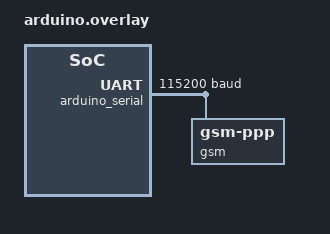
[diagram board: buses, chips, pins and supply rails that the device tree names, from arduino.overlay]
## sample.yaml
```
sample:
  description: UpdateHub enterprise-grade Firmware Over-the-Air (FOTA)
  name: UpdateHub
common:
  harness: net
  tags:
    - net
    - wifi
    - updatehub
  depends_on: netif
  build_only: true
  platform_allow: frdm_k64f
  integration_platforms:
    - frdm_k64f
tests:
  sample.net.updatehub:
    extra_configs:
      - CONFIG_UPDATEHUB_PRODUCT_UID="e4d37cfe6ec48a2d069cc0bbb8b078677e9a0d8df3a027c4d8ea131130c4265f"
      - CONFIG_UPDATEHUB_POLL_INTERVAL=1
      - CONFIG_UPDATEHUB_CE=y
      - CONFIG_UPDATEHUB_SERVER="updatehub.io"
  sample.net.updatehub.userspace:
    extra_configs:
      - CONFIG_UPDATEHUB_PRODUCT_UID="e4d37cfe6ec48a2d069cc0bbb8b078677e9a0d8df3a027c4d8ea131130c4265f"
      - CONFIG_UPDATEHUB_POLL_INTERVAL=1
      - CONFIG_UPDATEHUB_CE=y
      - CONFIG_UPDATEHUB_SERVER="updatehub.io"
      - CONFIG_USERSPACE=y
  sample.net.updatehub.dtls:
    extra_args: OVERLAY_CONFIG="overlay-dtls.conf"
    extra_configs:
      - CONFIG_UPDATEHUB_PRODUCT_UID="e4d37cfe6ec48a2d069cc0bbb8b078677e9a0d8df3a027c4d8ea131130c4265f"
      - CONFIG_UPDATEHUB_POLL_INTERVAL=1
      - CONFIG_UPDATEHUB_CE=y
      - CONFIG_UPDATEHUB_SERVER="updatehub.io"
```

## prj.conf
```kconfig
# Copyright (c) 2018-2020 O.S.Systems
# SPDX -License-Identifier: Apache-2.0
CONFIG_FLASH=y
CONFIG_STREAM_FLASH=y
CONFIG_FLASH_MAP=y
CONFIG_REBOOT=y
CONFIG_MCUBOOT_IMG_MANAGER=y
CONFIG_IMG_MANAGER=y
CONFIG_IMG_ENABLE_IMAGE_CHECK=y
CONFIG_BOOTLOADER_MCUBOOT=y
CONFIG_MPU_ALLOW_FLASH_WRITE=y
CONFIG_NETWORKING=y
CONFIG_NET_UDP=y
CONFIG_NET_SOCKETS=y
CONFIG_NET_SOCKETS_POSIX_NAMES=y
CONFIG_COAP=y
CONFIG_DNS_RESOLVER=y
CONFIG_JSON_LIBRARY=y
CONFIG_HWINFO=y

# Turn on the updatehub
CONFIG_UPDATEHUB=y
CONFIG_COAP_INIT_ACK_TIMEOUT_MS=10000

# Heap mem pool size
CONFIG_HEAP_MEM_POOL_SIZE=8192
CONFIG_SYSTEM_WORKQUEUE_STACK_SIZE=8192

# Network events
CONFIG_NET_CONNECTION_MANAGER=y
CONFIG_NET_CONFIG_SETTINGS=y

CONFIG_NET_IPV6=n

CONFIG_NET_IPV4=y
CONFIG_NET_DHCPV4=y

# Enable Shell
CONFIG_SHELL=y
CONFIG_SHELL_STACK_SIZE=8192
CONFIG_UPDATEHUB_SHELL=y
CONFIG_NET_SHELL=y

# Debug helpers
CONFIG_LOG=y
#CONFIG_UPDATEHUB_LOG_LEVEL_DBG=y
```

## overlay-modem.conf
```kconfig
# Copyright (c) 2020 O.S.Systems
# SPDX-License-Identifier: Apache-2.0

# Disable default configs
CONFIG_NET_L2_ETHERNET=n

CONFIG_NET_DHCPV4=n

CONFIG_NET_CONFIG_SETTINGS=n

# UART support
CONFIG_SERIAL=y

# GSM modem support
CONFIG_MODEM=y
CONFIG_MODEM_SHELL=y
CONFIG_MODEM_GSM_PPP=y
CONFIG_MODEM_GSM_APN="<Your Access Point Network>"

# PPP networking support
CONFIG_NET_DRIVERS=y
CONFIG_NET_NATIVE=y
CONFIG_NET_PPP=y
CONFIG_NET_L2_PPP=y
CONFIG_NET_L2_PPP_TIMEOUT=10000

CONFIG_DNS_SERVER_IP_ADDRESSES=y
CONFIG_DNS_SERVER1="8.8.8.8"
```

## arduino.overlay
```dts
/*
 * Copyright (c) 2020 O.S.Systems
 *
 * SPDX-License-Identifier: Apache-2.0
 */

&arduino_serial {
	status = "okay";
	current-speed = <115200>;
	gsm: gsm-modem {
		compatible = "zephyr,gsm-ppp";
	};
};
```

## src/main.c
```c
/*
 * Copyright (c) 2018-2023 O.S.Systems
 *
 * SPDX-License-Identifier: Apache-2.0
 */

#include <zephyr/kernel.h>
#include <zephyr/mgmt/updatehub.h>
#include <zephyr/net/net_mgmt.h>
#include <zephyr/net/net_event.h>
#include <zephyr/net/conn_mgr_monitor.h>

#ifdef CONFIG_NET_L2_WIFI_MGMT
#include <zephyr/net/wifi_mgmt.h>
#endif /* CONFIG_NET_L2_WIFI_MGMT */

#if defined(CONFIG_UPDATEHUB_DTLS)
#include <zephyr/net/tls_credentials.h>
#include "c_certificates.h"
#endif

#if defined(CONFIG_MODEM_GSM_PPP)
#define GSM_NODE DT_COMPAT_GET_ANY_STATUS_OKAY(zephyr_gsm_ppp)
#define UART_NODE DT_BUS(GSM_NODE)
#endif

#include <zephyr/logging/log.h>
LOG_MODULE_REGISTER(main);

#define EVENT_MASK (NET_EVENT_L4_CONNECTED | \
		    NET_EVENT_L4_DISCONNECTED)

static struct net_mgmt_event_callback mgmt_cb;

void start_updatehub(void)
{
#if defined(CONFIG_UPDATEHUB_SAMPLE_POLLING)
	LOG_INF("Starting UpdateHub polling mode");
	updatehub_autohandler();
#endif

#if defined(CONFIG_UPDATEHUB_SAMPLE_MANUAL)
	LOG_INF("Starting UpdateHub manual mode");

	switch (updatehub_probe()) {
	case UPDATEHUB_HAS_UPDATE:
		switch (updatehub_update()) {
		case UPDATEHUB_OK:
			ret = 0;
			updatehub_reboot();
			break;

		default:
			LOG_ERR("Error installing update.");
			break;
		}

	case UPDATEHUB_NO_UPDATE:
		LOG_INF("No update found");
		ret = 0;
		break;

	default:
		LOG_ERR("Invalid response");
		break;
	}
#endif
}

static void event_handler(struct net_mgmt_event_callback *cb,
			  uint32_t mgmt_event, struct net_if *iface)
{
	if ((mgmt_event & EVENT_MASK) != mgmt_event) {
		return;
	}

	if (mgmt_event == NET_EVENT_L4_CONNECTED) {
		LOG_INF("Network connected");
		start_updatehub();
		return;
	}

	if (mgmt_event == NET_EVENT_L4_DISCONNECTED) {
		LOG_INF("Network disconnected");
		return;
	}
}

int main(void)
{
	int ret;

	LOG_INF("UpdateHub sample app started");

#if defined(CONFIG_UPDATEHUB_DTLS)
	if (tls_credential_add(CA_CERTIFICATE_TAG,
			       TLS_CREDENTIAL_SERVER_CERTIFICATE,
			       server_certificate,
			       sizeof(server_certificate)) < 0) {
		LOG_ERR("Failed to register server certificate");
		return 0;
	}

	if (tls_credential_add(CA_CERTIFICATE_TAG,
			       TLS_CREDENTIAL_PRIVATE_KEY,
			       private_key,
			       sizeof(private_key)) < 0) {
		LOG_ERR("Failed to register private key");
		return 0;
	}
#endif

	/* The image of application needed be confirmed */
	LOG_INF("Confirming the boot image");
	ret = updatehub_confirm();
	if (ret < 0) {
		LOG_ERR("Error to confirm the image");
	}

#if defined(CONFIG_WIFI)
	int nr_tries = 10;
	struct net_if *iface = net_if_get_default();
	static struct wifi_connect_req_params cnx_params = {
		.ssid = CONFIG_UPDATEHUB_SAMPLE_WIFI_SSID,
		.ssid_length = 0,
		.psk = CONFIG_UPDATEHUB_SAMPLE_WIFI_PSK,
		.psk_length = 0,
		.channel = 0,
		.security = WIFI_SECURITY_TYPE_PSK,
	};

	cnx_params.ssid_length = strlen(CONFIG_UPDATEHUB_SAMPLE_WIFI_SSID);
	cnx_params.psk_length = strlen(CONFIG_UPDATEHUB_SAMPLE_WIFI_PSK);

	/* Let's wait few seconds to allow wifi device be on-line */
	while (nr_tries-- > 0) {
		ret = net_mgmt(NET_REQUEST_WIFI_CONNECT, iface, &cnx_params,
			       sizeof(struct wifi_connect_req_params));
		if (ret == 0) {
			break;
		}

		LOG_INF("Connect request failed %d. Waiting iface be up...", ret);
		k_msleep(500);
	}

#elif defined(CONFIG_MODEM_GSM_PPP)
	const struct device *const uart_dev = DEVICE_DT_GET(UART_NODE);

	LOG_INF("APN '%s' UART '%s' device %p", CONFIG_MODEM_GSM_APN,
		uart_dev->name, uart_dev);
#endif

	net_mgmt_init_event_callback(&mgmt_cb, event_handler, EVENT_MASK);
	net_mgmt_add_event_callback(&mgmt_cb);
	conn_mgr_mon_resend_status();
	return 0;
}
```
